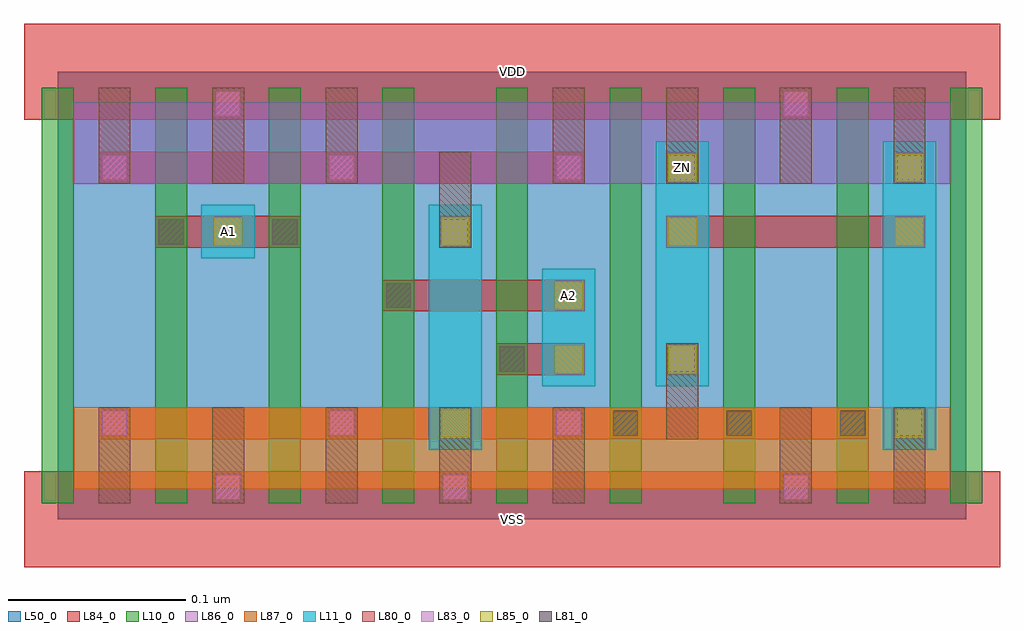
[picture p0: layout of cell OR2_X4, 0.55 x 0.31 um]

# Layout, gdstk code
import gdstk
lib = gdstk.Library(unit=1e-6, precision=1e-09)
def R(c, l, rs):  # rectangles x0, y0, x1, y1
    for r in rs: c.add(gdstk.rectangle(r[:2], r[2:], *l))
def A(c, l, x, y, w, h, nx, ny, dx, dy):  # array of equal rectangles
    R(c, l, [(x+i*dx, y+j*dy, x+i*dx+w, y+j*dy+h) for i in range(nx) for j in range(ny)])
L10_0 = (10, 0)
L11_0 = (11, 0)
L50_0 = (50, 0)
L80_0 = (80, 0)
L81_0 = (81, 0)
L83_0 = (83, 0)
L84_0 = (84, 0)
L85_0 = (85, 0)
L86_0 = (86, 0)
L87_0 = (87, 0)

or2_x4 = lib.new_cell('OR2_X4')
A(or2_x4, L10_0, -0.009, 0.009, 0.018, 0.234, 9, 1, 0.064, 0)
R(or2_x4, L11_0, [(0.209,0.039,0.239,0.177), (0.465,0.039,0.495,0.213), (0.273,0.075,0.303,0.141), (0.337,0.075,0.367,0.213), (0.081,0.147,0.111,0.177)])
R(or2_x4, L50_0, [(0,0,0.512,0.252)])
A(or2_x4, L80_0, 0.023, 0.009, 0.018, 0.054, 5, 1, 0.064, 0)
A(or2_x4, L80_0, 0.023, 0.189, 0.018, 0.054, 3, 1, 0.064, 0)
A(or2_x4, L80_0, 0.279, 0.189, 0.018, 0.054, 4, 1, 0.064, 0)
R(or2_x4, L80_0, [(0.407,0.009,0.425,0.063), (0.471,0.009,0.489,0.063), (0.343,0.045,0.361,0.099), (0.215,0.153,0.233,0.207)])
A(or2_x4, L81_0, 0.313, 0.047, 0.014, 0.014, 3, 1, 0.064, 0)
R(or2_x4, L81_0, [(0.249,0.083,0.263,0.097), (0.185,0.119,0.199,0.133), (0.057,0.155,0.071,0.169), (0.121,0.155,0.135,0.169)])
A(or2_x4, L83_0, 0.025, 0.047, 0.014, 0.014, 3, 2, 0.128, 0.144)
R(or2_x4, L83_0, [(0.089,0.011,0.103,0.025), (0.217,0.011,0.231,0.025), (0.409,0.011,0.423,0.025), (0.473,0.047,0.487,0.061), (0.345,0.083,0.359,0.097), (0.217,0.155,0.231,0.169), (0.345,0.191,0.359,0.205), (0.473,0.191,0.487,0.205), (0.089,0.227,0.103,0.241), (0.409,0.227,0.423,0.241)])
R(or2_x4, L84_0, [(-0.019,-0.027,0.531,0.027), (0.023,0.045,0.457,0.063), (0.471,0.045,0.489,0.063), (0.247,0.081,0.297,0.099), (0.343,0.081,0.361,0.099), (0.183,0.117,0.297,0.135), (0.055,0.153,0.137,0.171), (0.215,0.153,0.233,0.171), (0.343,0.153,0.489,0.171), (0.023,0.189,0.297,0.207), (0.343,0.189,0.361,0.207), (0.471,0.189,0.489,0.207), (-0.019,0.225,0.531,0.279)])
A(or2_x4, L85_0, 0.088, 0.154, 0.016, 0.016, 4, 1, 0.128, 0)
R(or2_x4, L85_0, [(0.216,0.046,0.232,0.062), (0.472,0.046,0.488,0.062), (0.28,0.082,0.296,0.098), (0.344,0.082,0.36,0.098), (0.28,0.118,0.296,0.134), (0.344,0.19,0.36,0.206), (0.472,0.19,0.488,0.206)])
R(or2_x4, L86_0, [(0.009,0.189,0.503,0.235)])
R(or2_x4, L87_0, [(0.009,0.017,0.503,0.063)])
or2_x4.add(gdstk.Label('VDD', (0.256,0.252), layer=88, texttype=0))
or2_x4.add(gdstk.Label('VSS', (0.256,0), layer=88, texttype=0))
or2_x4.add(gdstk.Label('ZN', (0.352,0.198), layer=31, texttype=0))
or2_x4.add(gdstk.Label('A2', (0.288,0.126), layer=31, texttype=0))
or2_x4.add(gdstk.Label('A1', (0.096,0.162), layer=31, texttype=0))

lib.write_gds('OR2_X4.gds')
